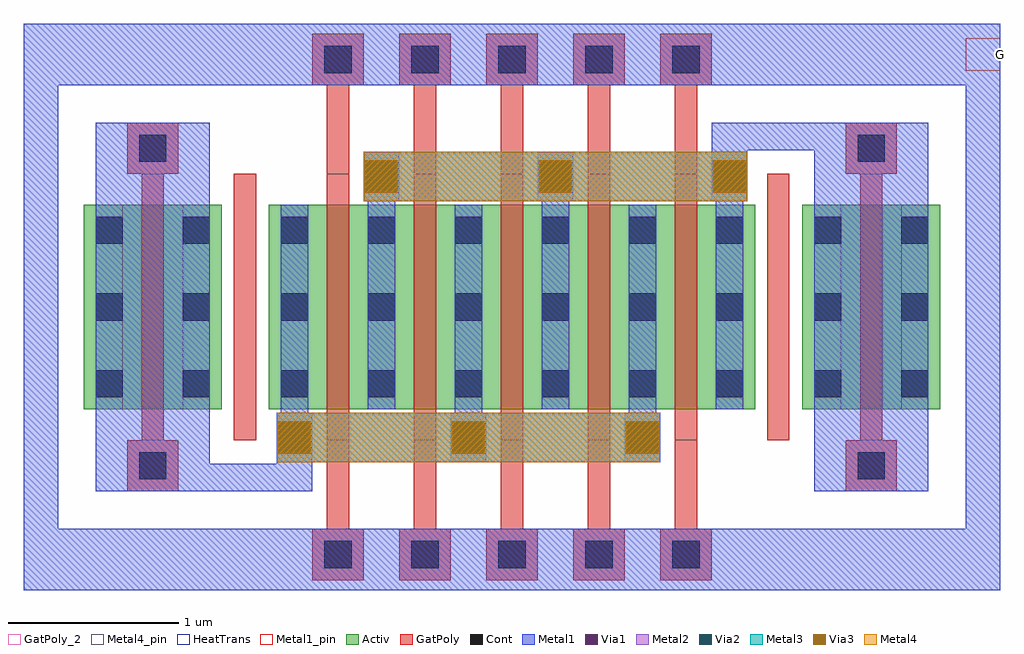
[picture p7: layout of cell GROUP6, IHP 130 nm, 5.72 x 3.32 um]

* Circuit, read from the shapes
.subckt GROUP6 G
XM1 nmos_priv1_0/D nmos_priv1_0/D nmos_priv1_0/D VSUBS sg13_lv_nmos w=1.2u l=0.13u
XM2 nmos_priv1_0/S G nmos_priv1_0/D VSUBS sg13_lv_nmos w=1.2u l=0.13u m=5
XM3 nmos_priv1_0/S nmos_priv1_0/S nmos_priv1_0/S VSUBS sg13_lv_nmos w=1.2u l=0.13u
.ends

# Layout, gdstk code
import gdstk
lib = gdstk.Library(unit=1e-6, precision=1e-09)
def R(c, l, rs):  # rectangles x0, y0, x1, y1
    for r in rs: c.add(gdstk.rectangle(r[:2], r[2:], *l))
def A(c, l, x, y, w, h, nx, ny, dx, dy):  # array of equal rectangles
    R(c, l, [(x+i*dx, y+j*dy, x+i*dx+w, y+j*dy+h) for i in range(nx) for j in range(ny)])
Activ = (1, 0)
GatPoly = (5, 0)
GatPoly_2 = (5, 2)
Cont = (6, 0)
Metal1 = (8, 0)
Metal1_pin = (8, 2)
Metal2 = (10, 0)
Via1 = (19, 0)
Via2 = (29, 0)
Metal3 = (30, 0)
Via3 = (49, 0)
Metal4 = (50, 0)
Metal4_pin = (50, 2)
HeatTrans = (51, 0)

nmos_priv1 = lib.new_cell('nmos_priv1')
A(nmos_priv1, Activ, 0, 0, 0.3, 0.3, 6, 1, 0.51, 0)
R(nmos_priv1, Activ, [(0,0,2.85,1.2)])
A(nmos_priv1, GatPoly, 0.255, -1, 0.3, 0.3, 5, 2, 0.51, 2.9)
A(nmos_priv1, GatPoly, 0.34, -0.7, 0.13, 0.52, 5, 2, 0.51, 2.08)
A(nmos_priv1, GatPoly, 0.34, -0.18, 0.13, 1.56, 5, 1, 0.51, 0)
R(nmos_priv1, GatPoly_2, [(0.34,-0.18,0.47,1.38)])
A(nmos_priv1, Cont, 0.325, -0.93, 0.16, 0.16, 5, 2, 0.51, 2.9)
A(nmos_priv1, Cont, 0.07, 0.07, 0.16, 0.16, 6, 3, 0.51, 0.45)
A(nmos_priv1, Metal1, 0.27, -1.06, 0.27, 0.36, 5, 2, 0.51, 2.96)
A(nmos_priv1, Metal1, 0.045, -0.31, 0.21, 0.29, 3, 1, 1.02, 0)
A(nmos_priv1, Metal1, 0.07, -0.035, 0.16, 0.05, 3, 1, 1.02, 0)
A(nmos_priv1, Metal1, 0.07, 0, 0.16, 1.2, 6, 1, 0.51, 0)
A(nmos_priv1, Metal1, 0.58, 1.185, 0.16, 0.05, 3, 1, 1.02, 0)
A(nmos_priv1, Metal1, 0.555, 1.22, 0.21, 0.29, 3, 1, 1.02, 0)
R(nmos_priv1, Metal1_pin, [(0.07,0,0.23,1.2), (0.58,0,0.74,1.2)])
A(nmos_priv1, Metal2, 0.05, -0.31, 0.2, 0.29, 3, 1, 1.02, 0)
A(nmos_priv1, Metal2, 0.56, 1.22, 0.2, 0.29, 3, 1, 1.02, 0)
R(nmos_priv1, Metal2, [(0.05,-0.31,2.29,-0.02), (0.56,1.22,2.8,1.51)])
A(nmos_priv1, Via1, 0.055, -0.26, 0.19, 0.19, 3, 1, 1.02, 0)
A(nmos_priv1, Via1, 0.565, 1.27, 0.19, 0.19, 3, 1, 1.02, 0)
A(nmos_priv1, Via2, 0.055, -0.26, 0.19, 0.19, 3, 1, 1.02, 0)
A(nmos_priv1, Via2, 0.565, 1.27, 0.19, 0.19, 3, 1, 1.02, 0)
A(nmos_priv1, Metal3, 0.05, -0.31, 0.2, 0.29, 3, 1, 1.02, 0)
A(nmos_priv1, Metal3, 0.56, 1.22, 0.2, 0.29, 3, 1, 1.02, 0)
R(nmos_priv1, Metal3, [(0.05,-0.31,2.29,-0.02), (0.56,1.22,2.8,1.51)])
A(nmos_priv1, Via3, 0.055, -0.26, 0.19, 0.19, 3, 1, 1.02, 0)
A(nmos_priv1, Via3, 0.565, 1.27, 0.19, 0.19, 3, 1, 1.02, 0)
A(nmos_priv1, Metal4, 0.05, -0.31, 0.2, 0.29, 3, 1, 1.02, 0)
A(nmos_priv1, Metal4, 0.56, 1.22, 0.2, 0.29, 3, 1, 1.02, 0)
R(nmos_priv1, Metal4, [(0.05,-0.31,2.29,-0.02), (0.56,1.22,2.8,1.51)])
R(nmos_priv1, Metal4_pin, [(2.095,-0.26,2.285,-0.07), (2.605,1.27,2.795,1.46)])
A(nmos_priv1, HeatTrans, 0.34, -0.18, 0.13, 1.56, 5, 1, 0.51, 0)
nmos_priv1.add(gdstk.Label('nmos', (0.405,0.6), layer=63, texttype=0))
nmos_priv1.add(gdstk.Label('nmos', (0.405,0.6), layer=51, texttype=0))
nmos_priv1.add(gdstk.Label('nmos', (0.915,0.6), layer=51, texttype=0))
nmos_priv1.add(gdstk.Label('nmos', (1.425,0.6), layer=51, texttype=0))
nmos_priv1.add(gdstk.Label('nmos', (1.935,0.6), layer=51, texttype=0))
nmos_priv1.add(gdstk.Label('nmos', (2.445,0.6), layer=51, texttype=0))
nmos_priv1.add(gdstk.Label('S', (2.7,1.365), layer=50, texttype=0))
nmos_priv1.add(gdstk.Label('D', (2.19,-0.165), layer=50, texttype=0))

nmos_3_priv1 = lib.new_cell('nmos$3_priv1')
R(nmos_3_priv1, Activ, [(0,0,0.3,0.3), (0,0,0.81,1.2), (0.51,0,0.81,0.3)])
R(nmos_3_priv1, GatPoly, [(0.255,-0.48,0.555,-0.18), (0.34,-0.18,0.47,1.38), (0.255,1.38,0.555,1.68)])
R(nmos_3_priv1, GatPoly_2, [(0.34,-0.18,0.47,1.38)])
A(nmos_3_priv1, Cont, 0.07, 0.07, 0.16, 0.16, 1, 3, 0, 0.45)
A(nmos_3_priv1, Cont, 0.58, 0.07, 0.16, 0.16, 1, 3, 0, 0.45)
R(nmos_3_priv1, Cont, [(0.325,-0.41,0.485,-0.25), (0.325,1.45,0.485,1.61)])
R(nmos_3_priv1, Metal1, [(0.07,-0.48,0.74,1.68), (0.07,0,0.23,1.2), (0.58,0,0.74,1.2)])
R(nmos_3_priv1, Metal1_pin, [(0.07,0,0.23,1.2), (0.58,0,0.74,1.2)])
R(nmos_3_priv1, HeatTrans, [(0.34,-0.18,0.47,1.38)])
nmos_3_priv1.add(gdstk.Label('nmos', (0.405,0.6), layer=63, texttype=0))
nmos_3_priv1.add(gdstk.Label('nmos', (0.405,0.6), layer=51, texttype=0))

nmos_3_priv2 = lib.new_cell('nmos$3_priv2')
R(nmos_3_priv2, Activ, [(0,0,0.3,0.3), (0,0,0.81,1.2), (0.51,0,0.81,0.3)])
R(nmos_3_priv2, GatPoly, [(0.255,-0.48,0.555,-0.18), (0.34,-0.18,0.47,1.38), (0.255,1.38,0.555,1.68)])
R(nmos_3_priv2, GatPoly_2, [(0.34,-0.18,0.47,1.38)])
A(nmos_3_priv2, Cont, 0.07, 0.07, 0.16, 0.16, 1, 3, 0, 0.45)
A(nmos_3_priv2, Cont, 0.58, 0.07, 0.16, 0.16, 1, 3, 0, 0.45)
R(nmos_3_priv2, Cont, [(0.325,-0.41,0.485,-0.25), (0.325,1.45,0.485,1.61)])
R(nmos_3_priv2, Metal1, [(0.07,-0.48,0.74,1.68), (0.07,0,0.23,1.2), (0.58,0,0.74,1.2)])
R(nmos_3_priv2, Metal1_pin, [(0.07,0,0.23,1.2), (0.58,0,0.74,1.2)])
R(nmos_3_priv2, HeatTrans, [(0.34,-0.18,0.47,1.38)])
nmos_3_priv2.add(gdstk.Label('nmos', (0.405,0.6), layer=63, texttype=0))
nmos_3_priv2.add(gdstk.Label('nmos', (0.405,0.6), layer=51, texttype=0))

group6 = lib.new_cell('GROUP6')
R(group6, GatPoly, [(294.775,0,294.905,1.56), (297.9,0,298.03,1.56)])
R(group6, Metal1, [(293.545,-0.88,299.265,-0.52), (293.545,-0.88,293.745,2.44), (299.065,-0.88,299.265,2.44), (294.635,-0.3,295.235,-0.14), (295.025,-0.14,295.235,0.16), (297.575,1.4,297.785,1.7), (297.575,1.7,298.175,1.86), (293.545,2.08,299.265,2.44)])
R(group6, Metal1_pin, [(299.065,2.165,299.265,2.355)])
group6.add(gdstk.Reference(nmos_priv1, (294.98,0.18)))
group6.add(gdstk.Reference(nmos_3_priv1, (298.105,0.18)))
group6.add(gdstk.Reference(nmos_3_priv2, (293.895,0.18)))
group6.add(gdstk.Label('G', (299.265,2.26), layer=8, texttype=0))

lib.write_gds('GROUP6.gds')
